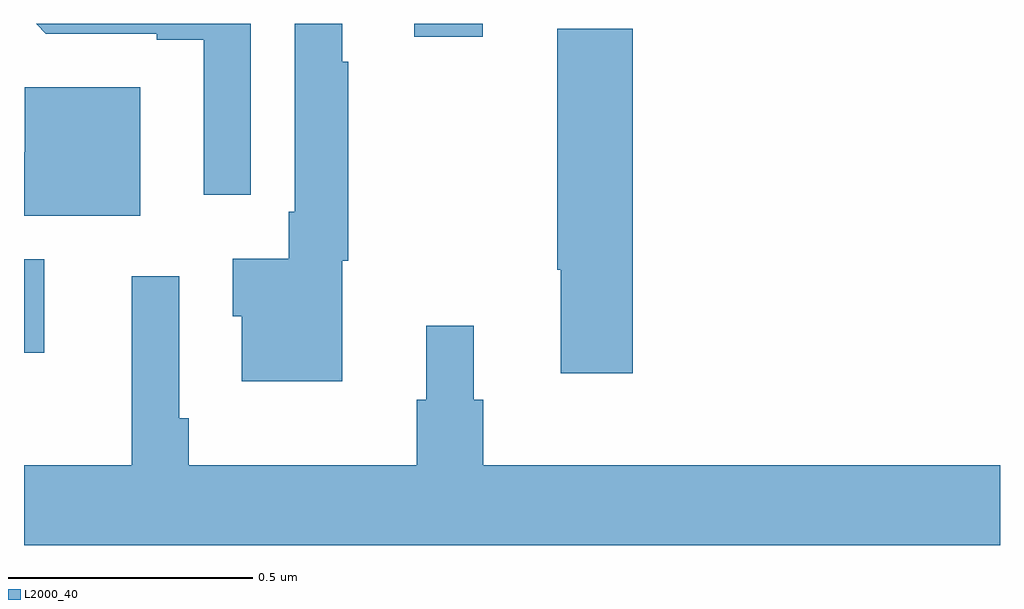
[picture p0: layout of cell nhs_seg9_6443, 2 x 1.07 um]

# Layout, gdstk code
import gdstk
lib = gdstk.Library(unit=1e-6, precision=1e-09)
def R(c, l, rs):  # rectangles x0, y0, x1, y1
    for r in rs: c.add(gdstk.rectangle(r[:2], r[2:], *l))
def P(c, l, *ps):  # polygons
    for p in ps: c.add(gdstk.Polygon(p, *l))
L2000_40 = (2000, 40)

nhs_seg9_6443 = lib.new_cell('nhs_seg9_6443')
R(nhs_seg9_6443, L2000_40, [(192,1184.826,192.041,1185.018), (192.8,1185.474,192.94,1185.5)])
P(nhs_seg9_6443, L2000_40, [(192.465,1185.5),(192.025,1185.5),(192.045,1185.48),(192.272,1185.48),(192.272,1185.468),(192.368,1185.468),(192.368,1185.15),(192.465,1185.15)],
  [(192.652,1185.015),(192.664,1185.015),(192.664,1185.422),(192.652,1185.422),(192.652,1185.5),(192.555,1185.5),(192.555,1185.115),(192.543,1185.115),(192.543,1185.019),(192.428,1185.019),(192.428,1184.901),(192.446,1184.901),(192.446,1184.768),(192.652,1184.768)],
  [(193.247,1185.49),(193.093,1185.49),(193.093,1184.996),(193.1,1184.996),(193.1,1184.784),(193.247,1184.784)],
  [(192.238,1185.37),(192.002,1185.37),(192.002,1185.237),(192,1185.237),(192,1185.107),(192.238,1185.107)],
  [(194,1184.596),(192.941,1184.596),(192.941,1184.73),(192.922,1184.73),(192.922,1184.881),(192.824,1184.881),(192.824,1184.73),(192.805,1184.73),(192.805,1184.596),(192.338,1184.596),(192.338,1184.692),(192.318,1184.692),(192.318,1184.983),(192.221,1184.983),(192.221,1184.596),(192,1184.596),(192,1184.432),(194,1184.432)])

lib.write_gds('nhs_seg9_6443.gds')
